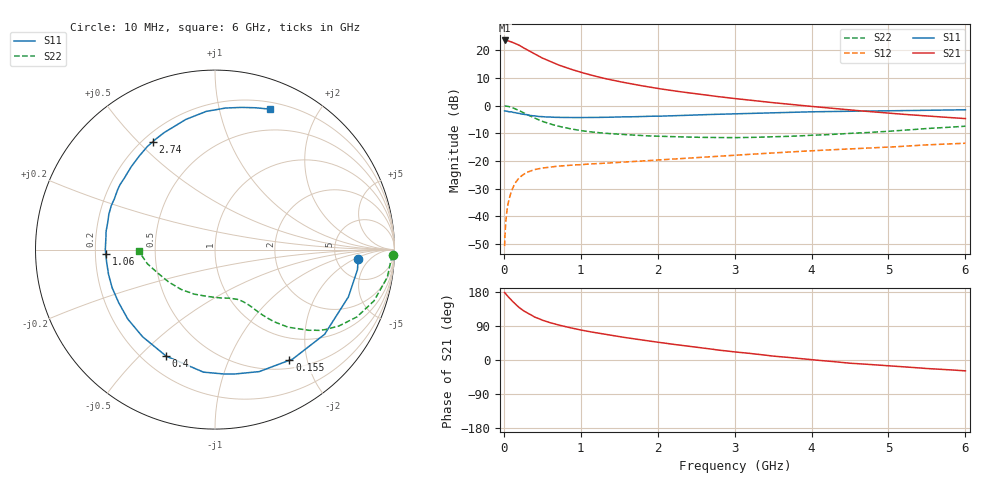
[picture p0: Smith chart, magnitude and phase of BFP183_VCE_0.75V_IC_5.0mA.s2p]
! Infineon Technologies  Discrete & RF Semiconductors
! BFP183
! VCE = 0.75V,  IC =  5.0 mA
! Common Emitter S-Parameters:  Jan 2016
# GHz  S  MA  R  50
!  f  S11  S21  S12  S22
! GHz  MAG  ANG  MAG  ANG  MAG  ANG  MAG  ANG
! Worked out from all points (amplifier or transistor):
!   210 points, 10 MHz to 6 GHz, reference 50 ohm
!   highest |S21| = 23.5 dB at 10 MHz (marker M1)
!   |S21| within 3 dB of that: start of sweep to 278.4 MHz
!   unconditionally stable (mu >= 1): 1.432 GHz to end of sweep
!   at 185 MHz: K = 0.17, MSG = 24.3 dB, |S12| = -26.6 dB
!   at 1.52 GHz: K = 1.04, MAG = 13.4 dB, |S12| = -20.5 dB
!   at 6 GHz: K = 1.06, MAG = 2.9 dB, |S12| = -13.6 dB
!   S11 on the Smith chart (normalised r, x): 10 MHz: 8.23, -2.41; 155 MHz: 0.62, -1.71; 400 MHz: 0.29, -0.60; 1.06 GHz: 0.24, -0.02; 2.74 GHz: 0.24, +0.55; 6 GHz: 0.27, +1.43
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0.01  0.799 -3.8  14.97 178.0  0.0029 86.8  0.9899 -1.8
0.025  0.7973 -9.9  14.87 174.6  0.0079 83.4  0.9792 -4.6
0.05  0.7886 -19.5  14.85 168.3  0.0157 81.0  0.9724 -9.1
0.1  0.7718 -37.7  14.09 157.4  0.0288 69.8  0.9306 -17.9
0.155  0.7429 -56.1  13.07 146.4  0.0414 62.3  0.8679 -26.0
0.2  0.723 -70.1  12.26 138.3  0.0497 56.3  0.8106 -31.7
0.26  0.6951 -85.8  10.94 129.5  0.0577 49.3  0.7358 -37.7
0.3  0.6857 -95.4  10.21 124.5  0.0624 45.7  0.6895 -40.7
0.4  0.6529 -114.6  8.556 113.3  0.07 38.9  0.5939 -46.7
0.5  0.6313 -129.7  7.213 105.1  0.0745 34.3  0.519 -50.7
0.6  0.6212 -141.4  6.275 98.5  0.0778 31.4  0.4658 -53.3
0.7  0.6126 -151.2  5.468 92.9  0.0805 29.4  0.427 -55.1
0.8  0.6113 -159.6  4.889 87.8  0.0826 27.8  0.3975 -56.5
1.02  0.6079 -175.0  3.917 78.5  0.0862 26.2  0.3504 -59.5
1.06  0.6089 -177.5  3.784 76.9  0.0872 26.1  0.3444 -60.0
1.5  0.6233 161.6  2.71 61.6  0.0942 25.8  0.3032 -66.0
2.02  0.6435 141.5  2.017 46.4  0.1045 26.2  0.2795 -75.5
2.74  0.6938 120.0  1.477 27.6  0.1208 25.7  0.2652 -93.1
3.1  0.7151 111.2  1.295 19.5  0.1293 24.9  0.2648 -103.5
4.1  0.7744 92.0  0.938 -1.0  0.1552 21.2  0.2943 -133.4
5.1  0.8086 78.3  0.711 -16.7  0.1809 16.8  0.3508 -159.8
6  0.8398 68.8  0.582 -28.6  0.209 9.9  0.424 -178.7
